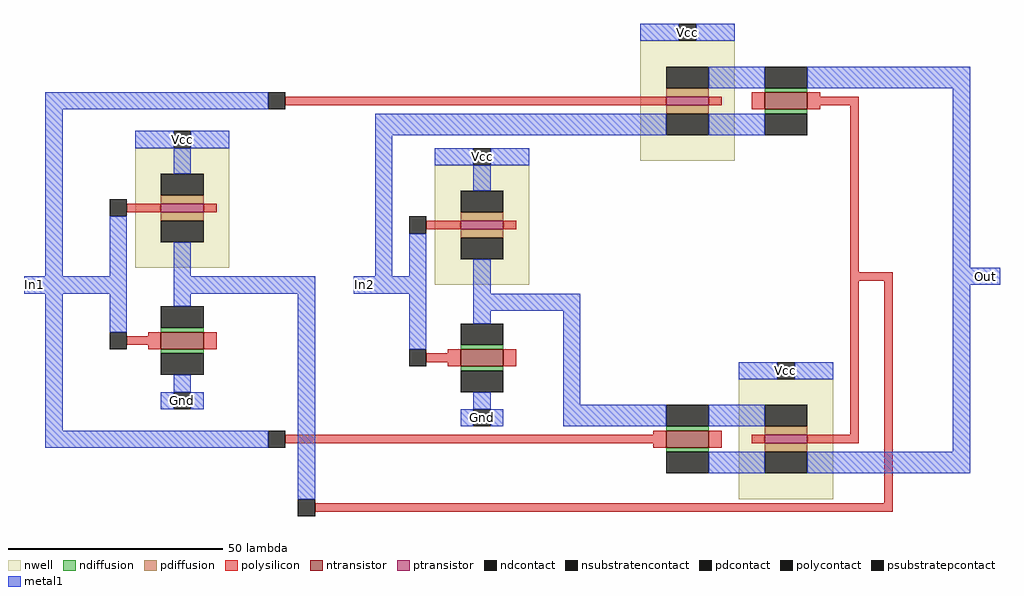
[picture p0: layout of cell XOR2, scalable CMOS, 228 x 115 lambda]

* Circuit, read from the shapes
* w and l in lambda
.subckt XOR2 Gnd In1 In2 Out Vcc
M1 n1 In1 Gnd Gnd nfet w=10 l=4
M2 n2 In2 Gnd Gnd nfet w=10 l=4
M3 n2 In1 Out Gnd nfet w=10 l=4
M4 Out n1 In2 Gnd nfet w=10 l=4
M5 Vcc In1 n1 n3 pfet w=10 l=2
M6 Vcc In2 n2 n4 pfet w=10 l=2
M7 Out In1 In2 n5 pfet w=10 l=2
M8 n2 n1 Out n6 pfet w=10 l=2
.ends

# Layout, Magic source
magic
tech scmos
<< nwell >>
rect -116 -8 -94 20
rect 2 17 24 45
rect -46 -12 -24 16
rect 25 -62 47 -34
<< ntransistor >>
rect 31 29 41 33
rect -110 -27 -100 -23
rect -40 -31 -30 -27
rect 8 -50 18 -46
<< ptransistor >>
rect 8 30 18 32
rect -110 5 -100 7
rect -40 1 -30 3
rect 31 -49 41 -47
<< ndiffusion >>
rect 31 33 41 34
rect 31 28 41 29
rect -110 -23 -100 -22
rect -40 -27 -30 -26
rect -110 -28 -100 -27
rect -40 -32 -30 -31
rect 8 -46 18 -45
rect 8 -51 18 -50
<< pdiffusion >>
rect 8 32 18 34
rect 8 28 18 30
rect -110 7 -100 9
rect -110 3 -100 5
rect -40 3 -30 5
rect -40 -1 -30 1
rect 31 -47 41 -45
rect 31 -51 41 -49
<< ndcontact >>
rect 31 34 41 39
rect 31 23 41 28
rect -110 -22 -100 -17
rect -40 -26 -30 -21
rect -110 -33 -100 -28
rect -40 -37 -30 -32
rect 8 -45 18 -40
rect 8 -56 18 -51
<< pdcontact >>
rect 8 34 18 39
rect 8 23 18 28
rect -110 9 -100 14
rect -40 5 -30 10
rect -110 -2 -100 3
rect -40 -6 -30 -1
rect 31 -45 41 -40
rect 31 -56 41 -51
<< psubstratepcontact >>
rect -107 -41 -103 -37
rect -37 -45 -33 -41
<< nsubstratencontact >>
rect 11 45 15 49
rect -107 20 -103 24
rect -37 16 -33 20
rect 34 -34 38 -30
<< polysilicon >>
rect -81 30 8 32
rect 18 30 21 32
rect 28 29 31 33
rect 41 32 44 33
rect 41 30 53 32
rect 41 29 44 30
rect -118 5 -110 7
rect -100 5 -97 7
rect -48 1 -40 3
rect -30 1 -27 3
rect 51 -9 53 30
rect 51 -11 61 -9
rect -113 -24 -110 -23
rect -118 -26 -110 -24
rect -113 -27 -110 -26
rect -100 -27 -97 -23
rect -43 -28 -40 -27
rect -48 -30 -40 -28
rect -43 -31 -40 -30
rect -30 -31 -27 -27
rect 5 -47 8 -46
rect -81 -49 8 -47
rect 5 -50 8 -49
rect 18 -50 21 -46
rect 51 -47 53 -11
rect 28 -49 31 -47
rect 41 -49 53 -47
rect 59 -63 61 -11
rect -74 -65 61 -63
<< polycontact >>
rect -85 29 -81 33
rect -122 4 -118 8
rect -52 0 -48 4
rect -122 -27 -118 -23
rect -52 -31 -48 -27
rect -85 -50 -81 -46
rect -78 -66 -74 -62
<< metal1 >>
rect 2 45 11 49
rect 15 45 24 49
rect 18 34 31 39
rect 41 34 79 39
rect -137 29 -85 33
rect -137 -10 -133 29
rect -116 20 -107 24
rect -103 20 -94 24
rect -60 23 8 28
rect 18 23 31 28
rect -107 14 -103 20
rect -122 -10 -118 4
rect -142 -14 -118 -10
rect -137 -46 -133 -14
rect -122 -23 -118 -14
rect -107 -10 -103 -2
rect -60 -10 -56 23
rect -46 16 -37 20
rect -33 16 -24 20
rect -37 10 -33 16
rect -52 -10 -48 0
rect -107 -14 -74 -10
rect -65 -14 -48 -10
rect -107 -17 -103 -14
rect -107 -37 -103 -33
rect -110 -41 -107 -37
rect -103 -41 -100 -37
rect -137 -50 -85 -46
rect -78 -62 -74 -14
rect -52 -27 -48 -14
rect -37 -14 -33 -6
rect 75 -8 79 34
rect 75 -12 86 -8
rect -37 -18 -12 -14
rect -37 -21 -33 -18
rect -37 -41 -33 -37
rect -16 -40 -12 -18
rect 25 -34 34 -30
rect 38 -34 47 -30
rect -40 -45 -37 -41
rect -33 -45 -30 -41
rect -16 -45 8 -40
rect 18 -45 31 -40
rect 75 -51 79 -12
rect 18 -56 31 -51
rect 41 -56 79 -51
<< labels >>
rlabel metal1 -65 -14 -60 -10 1 In2
rlabel metal1 2 45 24 49 5 Vcc
rlabel metal1 25 -34 47 -30 1 Vcc
rlabel metal1 -46 16 -24 20 5 Vcc
rlabel metal1 -40 -45 -30 -41 1 Gnd
rlabel metal1 -116 20 -94 24 5 Vcc
rlabel metal1 -110 -41 -100 -37 1 Gnd
rlabel metal1 -142 -14 -137 -10 3 In1
rlabel metal1 79 -12 86 -8 7 Out
<< end >>
